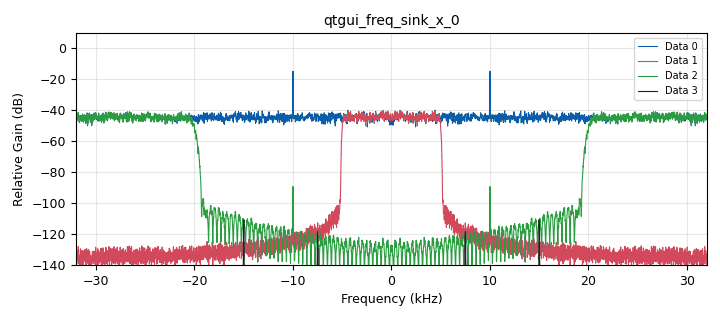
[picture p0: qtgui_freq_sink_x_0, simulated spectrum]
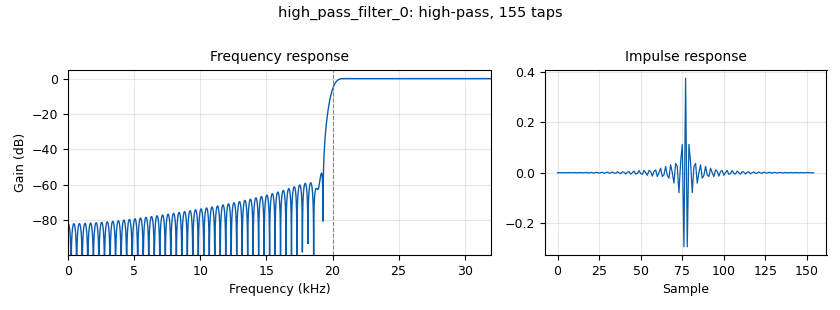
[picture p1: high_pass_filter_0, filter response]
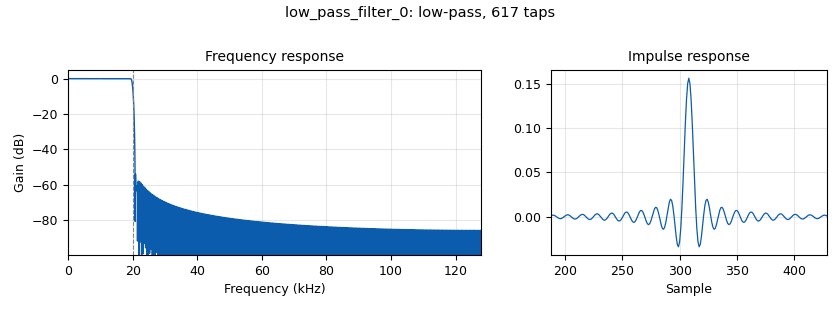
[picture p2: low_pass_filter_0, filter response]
options:
  parameters:
    generate_options: qt_gui
    id: FilterTap
    output_language: python
    title: FilterTap
  states: {}

blocks:
- name: Ip_taps
  id: variable_low_pass_filter_taps
  parameters:
    cutoff_freq: '15000'
    gain: '1.0'
    samp_rate: samp_rate
    width: '1000'
    win: window.WIN_HAMMING
  states: {}
- name: cutoff_high
  id: variable
  parameters:
    value: '15000'
  states: {}
- name: freq
  id: variable_qtgui_range
  parameters:
    label: freq
    start: '1000'
    step: '1000'
    stop: '25000'
    value: '10000'
  states: {}
- name: samp_rate
  id: variable
  parameters:
    value: '64000'
  states: {}
- name: sps
  id: variable
  parameters:
    value: '2'
  states: {}
- name: transition
  id: variable
  parameters:
    value: '1000'
  states: {}
- name: analog_noise_source_x_0
  id: analog_noise_source_x
  parameters:
    amp: '1'
    noise_type: analog.GR_GAUSSIAN
    seed: '0'
    type: float
  states: {}
- name: analog_sig_source_x_0
  id: analog_sig_source_x
  parameters:
    amp: '1'
    freq: '10000'
    offset: '0'
    phase: '0'
    samp_rate: samp_rate
    type: float
    waveform: analog.GR_SIN_WAVE
  states: {}
- name: band_pass_filter_0
  id: band_pass_filter
  parameters:
    decim: '1'
    gain: '1'
    high_cutoff_freq: '60000'
    low_cutoff_freq: '30000'
    samp_rate: '256000'
    type: fir_filter_fff
    width: '1'
    win: window.WIN_HAMMING
  states: {}
- name: blocks_add_xx_0
  id: blocks_add_xx
  parameters:
    type: float
  states: {}
- name: high_pass_filter_0
  id: high_pass_filter
  parameters:
    cutoff_freq: '20000'
    decim: '1'
    gain: '1'
    samp_rate: samp_rate
    type: fir_filter_fff
    width: '1000'
    win: window.WIN_HAMMING
  states: {}
- name: low_pass_filter_0
  id: low_pass_filter
  parameters:
    cutoff_freq: '20000'
    decim: '1'
    gain: '1'
    samp_rate: '256000'
    type: fir_filter_fff
    width: '1000'
    win: window.WIN_HAMMING
  states: {}
- name: qtgui_freq_sink_x_0
  id: qtgui_freq_sink_x
  parameters:
    average: '0.05'
    bw: samp_rate
    fc: '0'
    fftsize: '4096'
    nconnections: '4'
    showports: 'True'
    type: float
  states: {}

connections:
- [analog_noise_source_x_0, '0', blocks_add_xx_0, '1']
- [analog_sig_source_x_0, '0', blocks_add_xx_0, '0']
- [band_pass_filter_0, '0', qtgui_freq_sink_x_0, '3']
- [blocks_add_xx_0, '0', band_pass_filter_0, '0']
- [blocks_add_xx_0, '0', high_pass_filter_0, '0']
- [blocks_add_xx_0, '0', low_pass_filter_0, '0']
- [blocks_add_xx_0, '0', qtgui_freq_sink_x_0, '0']
- [high_pass_filter_0, '0', qtgui_freq_sink_x_0, '2']
- [low_pass_filter_0, '0', qtgui_freq_sink_x_0, '1']

metadata:
  file_format: 1
  grc_version: 3.10.12.0
